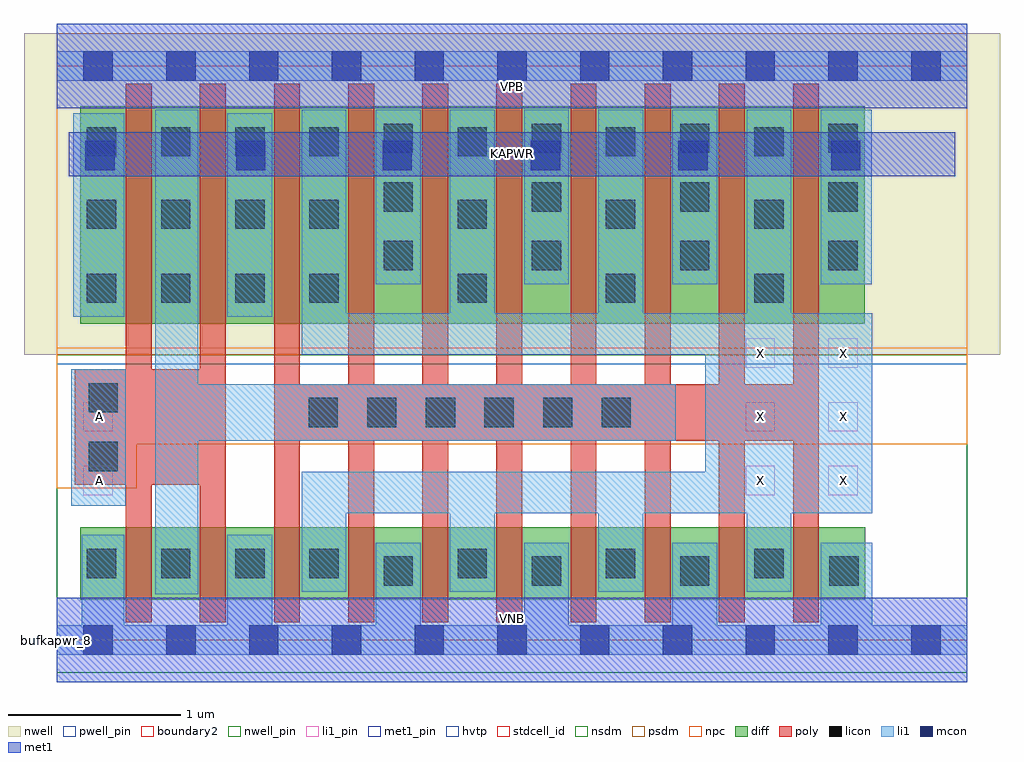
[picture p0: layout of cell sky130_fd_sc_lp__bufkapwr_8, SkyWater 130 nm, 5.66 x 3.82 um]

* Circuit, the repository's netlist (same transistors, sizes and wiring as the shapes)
* Copyright 2020 The SkyWater PDK Authors
*
* Licensed under the Apache License, Version 2.0 (the "License");
* you may not use this file except in compliance with the License.
* You may obtain a copy of the License at
*
*     https://www.apache.org/licenses/LICENSE-2.0
*
* Unless required by applicable law or agreed to in writing, software
* distributed under the License is distributed on an "AS IS" BASIS,
* WITHOUT WARRANTIES OR CONDITIONS OF ANY KIND, either express or implied.
* See the License for the specific language governing permissions and
* limitations under the License.
*
* SPDX-License-Identifier: Apache-2.0

.SUBCKT sky130_fd_sc_lp__bufkapwr_8 A KAPWR VGND VNB VPB VPWR X
*.PININFO A:I KAPWR:I VGND:I VNB:I VPB:I VPWR:I X:O
MMIN0 Ab A VGND VNB sky130_fd_pr__nfet_01v8 m=2 w=0.42U l=0.15U mult=1 sa=0.265
+ sb=0.265 sd=0.28 area=0.063 perim=1.14
MMIN1 X Ab VGND VNB sky130_fd_pr__nfet_01v8 m=8 w=0.42U l=0.15U mult=1 sa=0.265
+ sb=0.265 sd=0.28 area=0.063 perim=1.14
MMIP0 Ab A KAPWR VPB sky130_fd_pr__pfet_01v8_hvt m=2 w=1.26U l=0.15U mult=1 sa=0.265
+ sb=0.265 sd=0.28 area=0.063 perim=1.14
MMIP1 X Ab KAPWR VPB sky130_fd_pr__pfet_01v8_hvt m=8 w=1.26U l=0.15U mult=1 sa=0.265
+ sb=0.265 sd=0.28 area=0.063 perim=1.14
.ENDS sky130_fd_sc_lp__bufkapwr_8

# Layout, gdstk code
import gdstk
lib = gdstk.Library(unit=1e-6, precision=1e-09)
def R(c, l, rs):  # rectangles x0, y0, x1, y1
    for r in rs: c.add(gdstk.rectangle(r[:2], r[2:], *l))
def A(c, l, x, y, w, h, nx, ny, dx, dy):  # array of equal rectangles
    R(c, l, [(x+i*dx, y+j*dy, x+i*dx+w, y+j*dy+h) for i in range(nx) for j in range(ny)])
def P(c, l, *ps):  # polygons
    for p in ps: c.add(gdstk.Polygon(p, *l))
nwell_pin = (64, 16)
nwell = (64, 20)
diff = (65, 20)
poly = (66, 20)
licon = (66, 44)
li1_pin = (67, 16)
li1 = (67, 20)
mcon = (67, 44)
met1_pin = (68, 16)
met1 = (68, 20)
hvtp = (78, 44)
stdcell_id = (81, 4)
nsdm = (93, 44)
psdm = (94, 20)
npc = (95, 20)
pwell_pin = (122, 16)
boundary2 = (236, 0)

sky130_fd_sc_lp__bufkapw = lib.new_cell('sky130_fd_sc_lp__bufkapwr_8')
R(sky130_fd_sc_lp__bufkapw, nwell_pin, [(0,3.085,5.28,3.33)])
R(sky130_fd_sc_lp__bufkapw, nwell, [(-0.19,1.655,5.47,3.52)])
R(sky130_fd_sc_lp__bufkapw, diff, [(0.135,0.235,4.69,0.655), (0.135,1.835,4.685,3.095)])
P(sky130_fd_sc_lp__bufkapw, poly, [(4.42,3.225),(4.27,3.225),(4.27,1.485),(3.99,1.485),(3.99,3.225),(3.84,3.225),(3.84,1.485),(3.56,1.485),(3.56,3.225),(3.41,3.225),(3.41,1.485),(3.13,1.485),(3.13,3.225),(2.98,3.225),(2.98,1.485),(2.7,1.485),(2.7,3.225),(2.55,3.225),(2.55,1.485),(2.27,1.485),(2.27,3.225),(2.12,3.225),(2.12,1.485),(1.84,1.485),(1.84,3.225),(1.69,3.225),(1.69,1.485),(1.41,1.485),(1.41,3.225),(1.26,3.225),(1.26,0.105),(1.41,0.105),(1.41,1.155),(1.69,1.155),(1.69,0.105),(1.84,0.105),(1.84,1.155),(2.12,1.155),(2.12,0.105),(2.27,0.105),(2.27,1.155),(2.55,1.155),(2.55,0.105),(2.7,0.105),(2.7,1.155),(2.98,1.155),(2.98,0.105),(3.13,0.105),(3.13,1.155),(3.41,1.155),(3.41,0.105),(3.56,0.105),(3.56,1.155),(3.84,1.155),(3.84,0.105),(3.99,0.105),(3.99,1.155),(4.27,1.155),(4.27,0.105),(4.42,0.105)],
  [(0.98,3.225),(0.83,3.225),(0.83,1.57),(0.55,1.57),(0.55,3.225),(0.4,3.225),(0.4,1.57),(0.105,1.57),(0.105,0.9),(0.4,0.9),(0.4,0.105),(0.55,0.105),(0.55,0.9),(0.83,0.9),(0.83,0.105),(0.98,0.105)])
A(sky130_fd_sc_lp__bufkapw, licon, 1.895, 0.315, 0.17, 0.17, 3, 1, 0.86, 0)
A(sky130_fd_sc_lp__bufkapw, licon, 0.175, 0.36, 0.17, 0.17, 4, 2, 0.43, 1.595)
A(sky130_fd_sc_lp__bufkapw, licon, 2.325, 0.36, 0.17, 0.17, 3, 2, 0.86, 1.595)
A(sky130_fd_sc_lp__bufkapw, licon, 1.46, 1.235, 0.17, 0.17, 6, 1, 0.34, 0)
A(sky130_fd_sc_lp__bufkapw, licon, 1.895, 2.145, 0.17, 0.17, 4, 3, 0.86, 0.34)
A(sky130_fd_sc_lp__bufkapw, licon, 0.175, 2.385, 0.17, 0.17, 4, 2, 0.43, 0.42)
A(sky130_fd_sc_lp__bufkapw, licon, 2.325, 2.385, 0.17, 0.17, 3, 2, 0.86, 0.42)
R(sky130_fd_sc_lp__bufkapw, licon, [(4.48,0.315,4.65,0.485), (0.185,0.98,0.355,1.15), (0.185,1.32,0.355,1.49)])
A(sky130_fd_sc_lp__bufkapw, li1_pin, 3.995, 0.84, 0.17, 0.17, 1, 3, 0, 0.37)
A(sky130_fd_sc_lp__bufkapw, li1_pin, 4.475, 0.84, 0.17, 0.17, 1, 3, 0, 0.37)
R(sky130_fd_sc_lp__bufkapw, li1_pin, [(0.155,0.84,0.325,1.01), (0.155,1.21,0.325,1.38)])
A(sky130_fd_sc_lp__bufkapw, li1, 1.85, 2.065, 0.26, 1.01, 3, 1, 0.86, 0)
R(sky130_fd_sc_lp__bufkapw, li1, [(0.085,0.78,0.4,1.57), (0.095,1.875,0.39,3.055), (0.99,1.875,1.25,3.055), (4.43,2.065,4.725,3.075), (0,3.245,5.28,3.415)])
P(sky130_fd_sc_lp__bufkapw, li1, [(4.73,1.895),(4.26,1.895),(4.26,3.075),(4,3.075),(4,1.895),(3.4,1.895),(3.4,3.075),(3.14,3.075),(3.14,1.895),(2.54,1.895),(2.54,3.075),(2.28,3.075),(2.28,1.895),(1.68,1.895),(1.68,3.075),(1.42,3.075),(1.42,1.655),(3.76,1.655),(3.76,0.975),(1.42,0.975),(1.42,0.28),(1.68,0.28),(1.68,0.735),(2.28,0.735),(2.28,0.28),(2.54,0.28),(2.54,0.735),(3.14,0.735),(3.14,0.28),(3.4,0.28),(3.4,0.735),(4,0.735),(4,0.28),(4.26,0.28),(4.26,0.735),(4.73,0.735)],
  [(3.59,1.485),(0.82,1.485),(0.82,3.075),(0.57,3.075),(0.57,0.265),(0.82,0.265),(0.82,1.155),(3.59,1.155)],
  [(5.28,0.085),(4.73,0.085),(4.73,0.565),(4.43,0.565),(4.43,0.085),(3.83,0.085),(3.83,0.565),(3.57,0.565),(3.57,0.085),(2.97,0.085),(2.97,0.565),(2.71,0.565),(2.71,0.085),(2.11,0.085),(2.11,0.565),(1.85,0.565),(1.85,0.085),(1.25,0.085),(1.25,0.61),(0.99,0.61),(0.99,0.085),(0.39,0.085),(0.39,0.61),(0.145,0.61),(0.145,0.085),(0,0.085),(0,-0.085),(5.28,-0.085)])
A(sky130_fd_sc_lp__bufkapw, mcon, 0.155, -0.085, 0.17, 0.17, 11, 2, 0.48, 3.33)
R(sky130_fd_sc_lp__bufkapw, mcon, [(0.165,2.725,0.335,2.895), (1.04,2.725,1.21,2.895), (1.89,2.725,2.06,2.895), (2.75,2.725,2.92,2.895), (3.605,2.725,3.775,2.895), (4.49,2.725,4.66,2.895)])
R(sky130_fd_sc_lp__bufkapw, met1_pin, [(0,0,5.28,0.245), (0.07,2.69,5.21,2.945), (0,3.085,5.28,3.33)])
R(sky130_fd_sc_lp__bufkapw, met1, [(0,-0.245,5.28,0.245), (0.07,2.69,5.21,2.945), (0,3.085,5.28,3.575)])
R(sky130_fd_sc_lp__bufkapw, hvtp, [(0,1.6,5.28,3.33)])
R(sky130_fd_sc_lp__bufkapw, stdcell_id, [(0,0,5.28,3.33)])
R(sky130_fd_sc_lp__bufkapw, nsdm, [(0,-0.19,5.28,1.655)])
R(sky130_fd_sc_lp__bufkapw, psdm, [(0,1.655,5.28,3.52)])
P(sky130_fd_sc_lp__bufkapw, npc, [(5.28,1.695),(0,1.695),(0,0.88),(0.465,0.88),(0.465,1.135),(5.28,1.135)])
R(sky130_fd_sc_lp__bufkapw, pwell_pin, [(0,0,5.28,0.245)])
R(sky130_fd_sc_lp__bufkapw, boundary2, [(0,0,5.28,3.33)])
sky130_fd_sc_lp__bufkapw.add(gdstk.Label('VNB', (2.64,0.123), layer=64, texttype=59))
sky130_fd_sc_lp__bufkapw.add(gdstk.Label('VPB', (2.64,3.208), layer=64, texttype=5))
sky130_fd_sc_lp__bufkapw.add(gdstk.Label('bufkapwr_8', (0,0), layer=83, texttype=44))
sky130_fd_sc_lp__bufkapw.add(gdstk.Label('VPWR', (2.64,3.208), layer=68, texttype=5))
sky130_fd_sc_lp__bufkapw.add(gdstk.Label('VGND', (2.64,0.123), layer=68, texttype=5))
sky130_fd_sc_lp__bufkapw.add(gdstk.Label('KAPWR', (2.645,2.82), layer=68, texttype=5))
sky130_fd_sc_lp__bufkapw.add(gdstk.Label('A', (0.245,0.925), layer=67, texttype=5))
sky130_fd_sc_lp__bufkapw.add(gdstk.Label('X', (4.08,1.665), layer=67, texttype=5))
sky130_fd_sc_lp__bufkapw.add(gdstk.Label('X', (4.08,0.925), layer=67, texttype=5))
sky130_fd_sc_lp__bufkapw.add(gdstk.Label('X', (4.08,1.295), layer=67, texttype=5))
sky130_fd_sc_lp__bufkapw.add(gdstk.Label('A', (0.245,1.295), layer=67, texttype=5))
sky130_fd_sc_lp__bufkapw.add(gdstk.Label('X', (4.56,1.665), layer=67, texttype=5))
sky130_fd_sc_lp__bufkapw.add(gdstk.Label('X', (4.56,1.295), layer=67, texttype=5))
sky130_fd_sc_lp__bufkapw.add(gdstk.Label('X', (4.56,0.925), layer=67, texttype=5))

lib.write_gds('sky130_fd_sc_lp__bufkapwr_8.gds')
